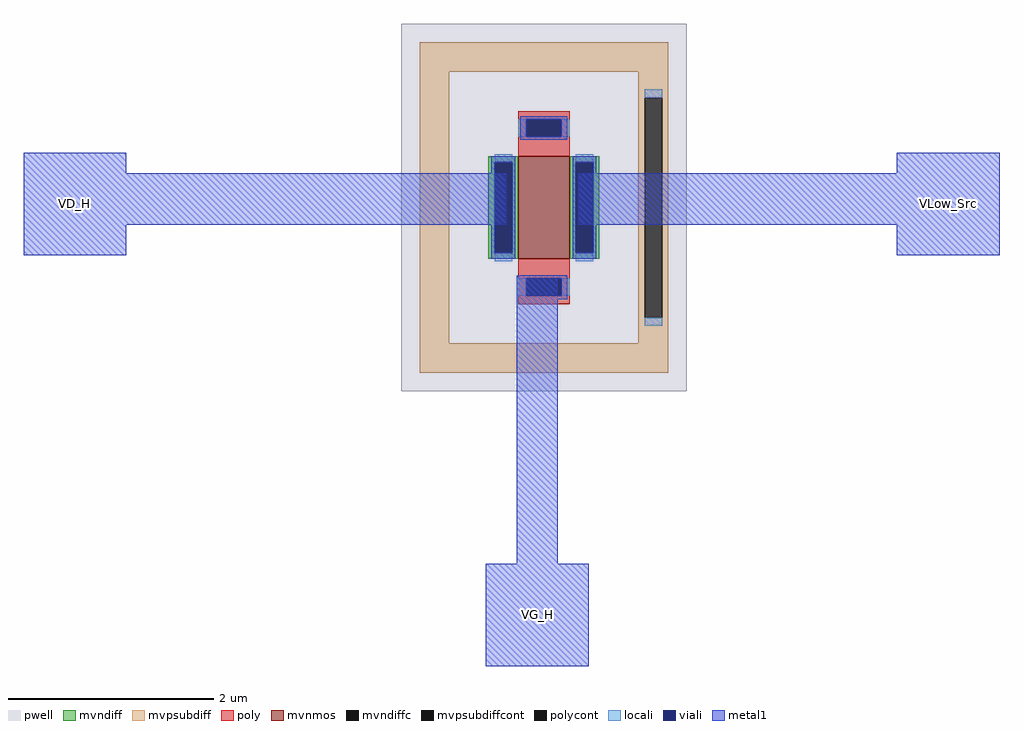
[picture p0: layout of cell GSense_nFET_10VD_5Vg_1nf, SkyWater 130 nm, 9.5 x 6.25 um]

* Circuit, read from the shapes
.subckt GSense_nFET_10VD_5Vg_1nf VD_H VG_H VLow_Src
XM1 VLow_Src VG_H VD_H VSUBS sky130_fd_pr__nfet_g5v0d10v5 w=1 l=0.5
.ends

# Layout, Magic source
magic
tech sky130A
magscale 1 2
<< metal1 >>
rect -800 -440 -600 -400
rect 900 -440 1100 -400
rect -800 -540 140 -440
rect 280 -540 1100 -440
rect -800 -600 -600 -540
rect 900 -600 1100 -540
rect 160 -1200 240 -640
rect 100 -1400 300 -1200
use sky130_fd_pr__nfet_g5v0d10v5_R72FWE  XM1
transform 1 0 213 0 1 -507
box -278 -358 278 358
<< labels >>
flabel metal1 -800 -600 -600 -400 0 FreeSans 256 0 0 0 VD_H
port 0 nsew
flabel metal1 100 -1400 300 -1200 0 FreeSans 256 0 0 0 VG_H
port 1 nsew
flabel metal1 900 -600 1100 -400 0 FreeSans 256 0 0 0 VLow_Src
port 2 nsew
<< end >>

# cell sky130_fd_pr__nfet_g5v0d10v5_R72FWE: kit device sky130_fd_pr__nfet_g5v0d10v5, w 1.0 l 0.50 m 1 nf 1 diffcov 100 polycov 100 guard 1 glc 0 grc 1 gtc 0 gbc 0 tbcov 100 rlcov 100 topc 1 botc 1 poverlap 0 doverlap 1 lmin 0.50 wmin 0.42 compatible {sky130_fd_pr__nfet_01v8 sky130_fd_pr__nfet_01v8_lvt sky130_fd_bs_flash__special_sonosfet_star sky130_fd_pr__nfet_g5v0d10v5 sky130_fd_pr__nfet_05v0_nvt sky130_fd_pr__nfet_03v3_nvt} full_metal 0 viasrc 100 viadrn 100 viagate 100 viagb 0 viagr 0 viagl 0 viagt 0
